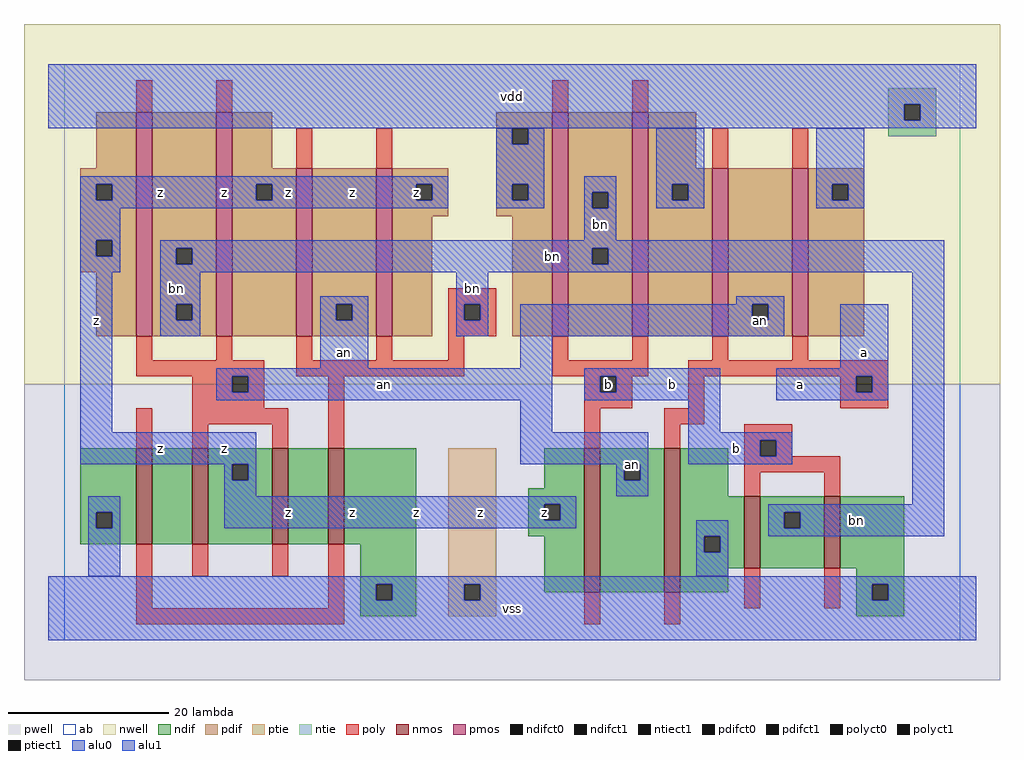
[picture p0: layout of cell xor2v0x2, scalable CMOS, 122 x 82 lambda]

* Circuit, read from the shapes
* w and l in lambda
.subckt xor2v0x2 a an b bn vdd vss z
M1 n1 bn vss vss nfet w=12 l=2
M2 z an n1 vss nfet w=12 l=2
M3 n2 an z vss nfet w=12 l=2
M4 vss bn n2 vss nfet w=12 l=2
M5 an b z vss nfet w=18 l=2
M6 vss a an vss nfet w=18 l=2
M7 bn b vss vss nfet w=9 l=2 m=2
M8 bn an z vdd pfet w=28 l=2 m=2
M9 an bn z vdd pfet w=21 l=2 m=2
M10 bn b vdd vdd pfet w=28 l=2 m=2
M11 an a vdd vdd pfet w=21 l=2 m=2
.ends

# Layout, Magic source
magic
tech scmos
<< ab >>
rect 0 0 112 72
<< nwell >>
rect -5 32 117 77
<< pwell >>
rect -5 -5 117 32
<< poly >>
rect 9 66 11 70
rect 19 66 21 70
rect 61 66 63 70
rect 71 66 73 70
rect 29 59 31 64
rect 39 59 41 64
rect 48 42 54 44
rect 48 40 50 42
rect 52 40 54 42
rect 48 38 54 40
rect 81 59 83 64
rect 91 59 93 64
rect 9 35 11 38
rect 19 35 21 38
rect 29 35 31 38
rect 39 35 41 38
rect 48 35 50 38
rect 9 33 25 35
rect 29 33 50 35
rect 61 35 63 38
rect 71 35 73 38
rect 81 35 83 38
rect 91 35 93 38
rect 61 33 73 35
rect 78 33 103 35
rect 16 31 21 33
rect 23 31 25 33
rect 16 29 25 31
rect 9 24 11 29
rect 16 27 28 29
rect 16 24 18 27
rect 26 24 28 27
rect 33 24 35 33
rect 65 31 67 33
rect 69 31 71 33
rect 65 29 71 31
rect 78 29 80 33
rect 97 31 99 33
rect 101 31 103 33
rect 97 29 103 31
rect 65 24 67 29
rect 75 27 80 29
rect 75 24 77 27
rect 85 25 91 27
rect 9 4 11 12
rect 16 8 18 12
rect 26 8 28 12
rect 33 4 35 12
rect 9 2 35 4
rect 85 23 87 25
rect 89 23 91 25
rect 85 21 97 23
rect 85 18 87 21
rect 95 18 97 21
rect 65 2 67 6
rect 75 2 77 6
rect 85 4 87 9
rect 95 4 97 9
<< ndif >>
rect 2 16 9 24
rect 2 14 4 16
rect 6 14 9 16
rect 2 12 9 14
rect 11 12 16 24
rect 18 22 26 24
rect 18 20 21 22
rect 23 20 26 22
rect 18 12 26 20
rect 28 12 33 24
rect 35 12 44 24
rect 37 7 44 12
rect 37 5 39 7
rect 41 5 44 7
rect 37 3 44 5
rect 60 19 65 24
rect 58 17 65 19
rect 58 15 60 17
rect 62 15 65 17
rect 58 13 65 15
rect 60 6 65 13
rect 67 22 75 24
rect 67 20 70 22
rect 72 20 75 22
rect 67 6 75 20
rect 77 18 83 24
rect 77 13 85 18
rect 77 11 80 13
rect 82 11 85 13
rect 77 9 85 11
rect 87 16 95 18
rect 87 14 90 16
rect 92 14 95 16
rect 87 9 95 14
rect 97 9 105 18
rect 77 6 83 9
rect 99 7 105 9
rect 99 5 101 7
rect 103 5 105 7
rect 99 3 105 5
<< pdif >>
rect 4 59 9 66
rect 2 57 9 59
rect 2 55 4 57
rect 6 55 9 57
rect 2 50 9 55
rect 2 48 4 50
rect 6 48 9 50
rect 2 46 9 48
rect 4 38 9 46
rect 11 49 19 66
rect 11 47 14 49
rect 16 47 19 49
rect 11 42 19 47
rect 11 40 14 42
rect 16 40 19 42
rect 11 38 19 40
rect 21 59 26 66
rect 54 64 61 66
rect 54 62 56 64
rect 58 62 61 64
rect 21 57 29 59
rect 21 55 24 57
rect 26 55 29 57
rect 21 38 29 55
rect 31 42 39 59
rect 31 40 34 42
rect 36 40 39 42
rect 31 38 39 40
rect 41 57 48 59
rect 41 55 44 57
rect 46 55 48 57
rect 41 53 48 55
rect 54 57 61 62
rect 54 55 56 57
rect 58 55 61 57
rect 54 53 61 55
rect 41 38 46 53
rect 56 38 61 53
rect 63 56 71 66
rect 63 54 66 56
rect 68 54 71 56
rect 63 49 71 54
rect 63 47 66 49
rect 68 47 71 49
rect 63 38 71 47
rect 73 59 79 66
rect 73 57 81 59
rect 73 55 76 57
rect 78 55 81 57
rect 73 38 81 55
rect 83 42 91 59
rect 83 40 86 42
rect 88 40 91 42
rect 83 38 91 40
rect 93 57 100 59
rect 93 55 96 57
rect 98 55 100 57
rect 93 38 100 55
<< alu1 >>
rect -2 67 114 72
rect -2 65 105 67
rect 107 65 114 67
rect -2 64 114 65
rect 2 57 48 58
rect 2 55 4 57
rect 6 55 24 57
rect 26 55 44 57
rect 46 55 48 57
rect 2 54 48 55
rect 2 50 7 54
rect 2 48 4 50
rect 6 48 7 50
rect 2 46 7 48
rect 2 26 6 46
rect 97 34 103 42
rect 65 33 82 34
rect 65 31 67 33
rect 69 31 82 33
rect 65 30 82 31
rect 89 33 103 34
rect 89 31 99 33
rect 101 31 103 33
rect 89 30 103 31
rect 78 26 82 30
rect 2 22 24 26
rect 78 25 91 26
rect 78 23 87 25
rect 89 23 91 25
rect 78 22 91 23
rect 20 20 21 22
rect 23 20 24 22
rect 20 18 24 20
rect 20 17 64 18
rect 20 15 60 17
rect 62 15 64 17
rect 20 14 64 15
rect -2 7 114 8
rect -2 5 39 7
rect 41 5 50 7
rect 52 5 101 7
rect 103 5 114 7
rect -2 0 114 5
<< ptie >>
rect 48 7 54 24
rect 48 5 50 7
rect 52 5 54 7
rect 48 3 54 5
<< ntie >>
rect 103 67 109 69
rect 103 65 105 67
rect 107 65 109 67
rect 103 63 109 65
<< nmos >>
rect 9 12 11 24
rect 16 12 18 24
rect 26 12 28 24
rect 33 12 35 24
rect 65 6 67 24
rect 75 6 77 24
rect 85 9 87 18
rect 95 9 97 18
<< pmos >>
rect 9 38 11 66
rect 19 38 21 66
rect 29 38 31 59
rect 39 38 41 59
rect 61 38 63 66
rect 71 38 73 66
rect 81 38 83 59
rect 91 38 93 59
<< polyct0 >>
rect 50 40 52 42
rect 21 31 23 33
<< polyct1 >>
rect 67 31 69 33
rect 99 31 101 33
rect 87 23 89 25
<< ndifct0 >>
rect 4 14 6 16
rect 70 20 72 22
rect 80 11 82 13
rect 90 14 92 16
<< ndifct1 >>
rect 21 20 23 22
rect 39 5 41 7
rect 60 15 62 17
rect 101 5 103 7
<< ntiect1 >>
rect 105 65 107 67
<< ptiect1 >>
rect 50 5 52 7
<< pdifct0 >>
rect 14 47 16 49
rect 14 40 16 42
rect 56 62 58 64
rect 34 40 36 42
rect 56 55 58 57
rect 66 54 68 56
rect 66 47 68 49
rect 76 55 78 57
rect 86 40 88 42
rect 96 55 98 57
<< pdifct1 >>
rect 4 55 6 57
rect 4 48 6 50
rect 24 55 26 57
rect 44 55 46 57
<< alu0 >>
rect 54 62 56 64
rect 58 62 60 64
rect 54 57 60 62
rect 54 55 56 57
rect 58 55 60 57
rect 54 54 60 55
rect 65 56 69 58
rect 65 54 66 56
rect 68 54 69 56
rect 74 57 80 64
rect 74 55 76 57
rect 78 55 80 57
rect 74 54 80 55
rect 94 57 100 64
rect 94 55 96 57
rect 98 55 100 57
rect 94 54 100 55
rect 65 50 69 54
rect 12 49 110 50
rect 12 47 14 49
rect 16 47 66 49
rect 68 47 110 49
rect 12 46 110 47
rect 12 42 17 46
rect 12 40 14 42
rect 16 40 17 42
rect 12 38 17 40
rect 32 42 38 43
rect 32 40 34 42
rect 36 40 38 42
rect 32 34 38 40
rect 49 42 53 46
rect 84 42 90 43
rect 49 40 50 42
rect 52 40 53 42
rect 49 38 53 40
rect 57 40 86 42
rect 88 40 90 42
rect 57 38 90 40
rect 57 34 61 38
rect 19 33 61 34
rect 19 31 21 33
rect 23 31 61 33
rect 19 30 61 31
rect 57 26 61 30
rect 57 22 73 26
rect 69 20 70 22
rect 72 20 73 22
rect 69 18 73 20
rect 3 16 7 18
rect 3 14 4 16
rect 6 14 7 16
rect 106 17 110 46
rect 88 16 110 17
rect 3 8 7 14
rect 79 13 83 15
rect 88 14 90 16
rect 92 14 110 16
rect 88 13 110 14
rect 79 11 80 13
rect 82 11 83 13
rect 79 8 83 11
<< labels >>
rlabel alu0 14 44 14 44 6 bn
rlabel alu0 51 44 51 44 6 bn
rlabel alu0 35 36 35 36 6 an
rlabel alu0 71 22 71 22 6 an
rlabel alu0 40 32 40 32 6 an
rlabel alu0 67 52 67 52 6 bn
rlabel alu0 99 15 99 15 6 bn
rlabel alu0 87 40 87 40 6 an
rlabel alu0 61 48 61 48 6 bn
rlabel alu1 20 24 20 24 6 z
rlabel alu1 12 24 12 24 6 z
rlabel alu1 4 40 4 40 6 z
rlabel alu1 12 56 12 56 6 z
rlabel alu1 20 56 20 56 6 z
rlabel alu1 36 16 36 16 6 z
rlabel alu1 52 16 52 16 6 z
rlabel alu1 44 16 44 16 6 z
rlabel alu1 28 16 28 16 6 z
rlabel alu1 36 56 36 56 6 z
rlabel alu1 44 56 44 56 6 z
rlabel alu1 28 56 28 56 6 z
rlabel alu1 56 4 56 4 6 vss
rlabel alu1 60 16 60 16 6 z
rlabel polyct1 68 32 68 32 6 b
rlabel alu1 76 32 76 32 6 b
rlabel alu1 56 68 56 68 6 vdd
rlabel alu1 84 24 84 24 6 b
rlabel alu1 92 32 92 32 6 a
rlabel alu1 100 36 100 36 6 a
<< end >>
